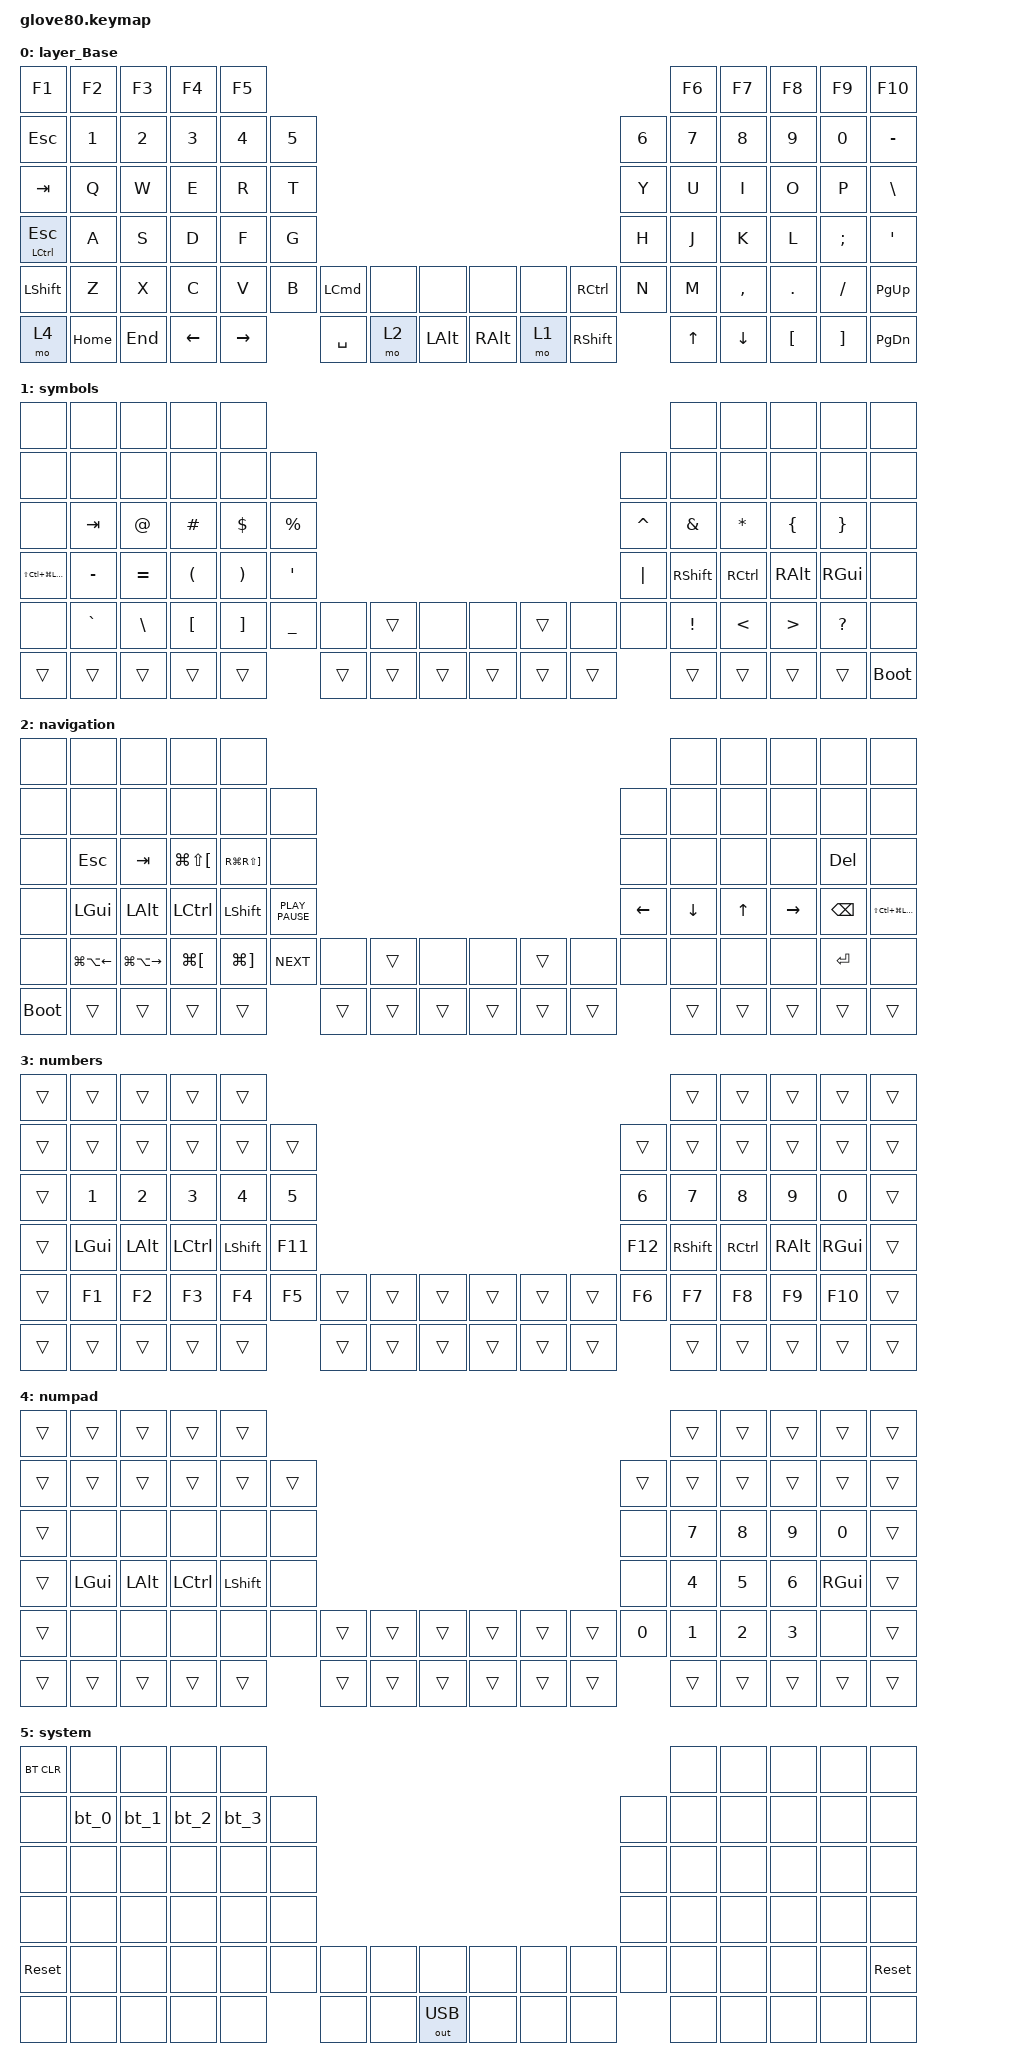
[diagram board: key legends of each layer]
/*
 * Copyright (c) 2020 The ZMK Contributors
 *
 * SPDX-License-Identifier: MIT
 */

#include <behaviors.dtsi>
#include <dt-bindings/zmk/keys.h>
#include <dt-bindings/zmk/bt.h>
#include <dt-bindings/zmk/ext_power.h>
#include <dt-bindings/zmk/outputs.h>

#define DEFAULT 0

/ {
    macros {

        bt_0: bt_profile_macro_0 {
            compatible = "zmk,behavior-macro";
            #binding-cells = <0>;
            bindings
                = <&out OUT_BLE>,
                  <&bt BT_SEL 0>;
        };

        bt_1: bt_profile_macro_1 {
            compatible = "zmk,behavior-macro";
            #binding-cells = <0>;
            bindings
                = <&out OUT_BLE>,
                  <&bt BT_SEL 1>;
        };

        bt_2: bt_profile_macro_2 {
            compatible = "zmk,behavior-macro";
            #binding-cells = <0>;
            bindings
                = <&out OUT_BLE>,
                  <&bt BT_SEL 2>;
        };

        bt_3: bt_profile_macro_3 {
            compatible = "zmk,behavior-macro";
            #binding-cells = <0>;
            bindings
                = <&out OUT_BLE>,
                  <&bt BT_SEL 3>;
        };
    };

    combos {
        compatible = "zmk,combos";

        enter {
            bindings = <&kp ENTER>;
            key-positions = <60 61>;
        };

        jk_escape {
            bindings = <&kp ESC>;
            key-positions = <41 42>;
        };
    };

    keymap {
        compatible = "zmk,keymap";

        layer_Base {
            bindings = <
&kp F1            &kp F2    &kp F3   &kp F4    &kp F5                                                                               &kp F6  &kp F7     &kp F8    &kp F9    &kp F10
&kp ESCAPE        &kp N1    &kp N2   &kp N3    &kp N4     &kp N5                                                            &kp N6  &kp N7  &kp N8     &kp N9    &kp N0    &kp MINUS
&kp TAB           &kp Q     &kp W    &kp E     &kp R      &kp T                                                             &kp Y   &kp U   &kp I      &kp O     &kp P     &kp BSLH
&mt LCTRL ESCAPE  &kp A     &kp S    &kp D     &kp F      &kp G                                                             &kp H   &kp J   &kp K      &kp L     &kp SEMI  &kp SQT 
&kp LSHIFT        &kp Z     &kp X    &kp C     &kp V      &kp B   &kp LCMD   &none  &none       &none     &none  &kp RCTRL  &kp N   &kp M   &kp COMMA  &kp DOT   &kp FSLH  &kp PG_UP
&mo 4             &kp HOME  &kp END  &kp LEFT  &kp RIGHT          &kp SPACE  &mo 2  &kp LALT    &kp RALT  &mo 1  &kp RSHFT          &kp UP  &kp DOWN   &kp LBKT  &kp RBKT  &kp PG_DN
            >;
        };

        symbols {
            bindings = <
&none                 &none      &none      &none                 &none                                                                                               &none      &none          &none             &none      &none
&none                 &none      &none      &none                 &none                  &none                                                             &none      &none      &none          &none             &none      &none
&none                 &kp TAB    &kp AT     &kp HASH              &kp DOLLAR             &kp PERCENT                                                       &kp CARET  &kp AMPS   &kp ASTRK      &kp LBRC          &kp RBRC   &none
&kp LS(LC(LG(LALT)))  &kp MINUS  &kp EQUAL  &kp LEFT_PARENTHESIS  &kp RIGHT_PARENTHESIS  &kp SQT                                                           &kp PIPE   &kp RSHFT  &kp RCTRL      &kp RALT          &kp RGUI   &none
&none                 &kp GRAVE  &kp BSLH   &kp LBKT              &kp RBKT               &kp UNDERSCORE  &none   &trans  &none     &none   &trans  &none   &none      &kp EXCL   &kp LESS_THAN  &kp GREATER_THAN  &kp QMARK  &none
&trans                &trans     &trans     &trans                &trans                                 &trans  &trans  &trans    &trans  &trans  &trans             &trans     &trans         &trans            &trans     &bootloader
            >;
        };

        navigation {
            bindings = <
&none        &none     &none     &none                     &none                                                                                           &none     &none   &none      &none       &none
&none        &none     &none     &none                     &none             &none                                                               &none     &none     &none   &none      &none       &none
&none        &kp ESC   &kp TAB   &kp LG(LS(LEFT_BRACKET))  &kp RG(RS(RBKT))  &none                                                               &none     &none     &none   &none      &kp DELETE  &none
&none        &kp LGUI  &kp LALT  &kp LCTRL                 &kp LSHFT         &kp K_PLAY_PAUSE                                                    &kp LEFT  &kp DOWN  &kp UP  &kp RIGHT  &kp BSPC    &kp LS(LC(LG(LALT)))
&none        &kp LG(LA(LEFT))     &kp LG(LA(RIGHT))     &kp LG(LEFT_BRACKET)      &kp LG(RBKT)      &kp K_NEXT        &none   &trans  &none     &none   &trans  &none   &none     &none     &none   &none      &kp ENTER   &none
&bootloader  &trans    &trans    &trans                    &trans                              &trans  &trans  &trans    &trans  &trans  &trans            &trans    &trans  &trans     &trans      &trans
            >;
        };

        numbers {
            bindings = <
&trans  &trans    &trans    &trans     &trans                                                                         &trans     &trans     &trans    &trans    &trans
&trans  &trans    &trans    &trans     &trans     &trans                                                     &trans   &trans     &trans     &trans    &trans    &trans
&trans  &kp N1    &kp N2    &kp N3     &kp N4     &kp N5                                                     &kp N6   &kp N7     &kp N8     &kp N9    &kp N0    &trans
&trans  &kp LGUI  &kp LALT  &kp LCTRL  &kp LSHFT  &kp F11                                                    &kp F12  &kp RSHFT  &kp RCTRL  &kp RALT  &kp RGUI  &trans
&trans  &kp F1    &kp F2    &kp F3     &kp F4     &kp F5   &trans  &trans  &trans    &trans  &trans  &trans  &kp F6   &kp F7     &kp F8     &kp F9    &kp F10   &trans
&trans  &trans    &trans    &trans     &trans              &trans  &trans  &trans    &trans  &trans  &trans           &trans     &trans     &trans    &trans    &trans
            >;
        };

        numpad {
            bindings = <
&trans  &trans    &trans    &trans     &trans                                                                       &trans  &trans  &trans  &trans    &trans
&trans  &trans    &trans    &trans     &trans     &trans                                                    &trans  &trans  &trans  &trans  &trans    &trans
&trans  &none     &none     &none      &none      &none                                                     &none   &kp N7  &kp N8  &kp N9  &kp N0    &trans
&trans  &kp LGUI  &kp LALT  &kp LCTRL  &kp LSHFT  &none                                                     &none   &kp N4  &kp N5  &kp N6  &kp RGUI  &trans
&trans  &none     &none     &none      &none      &none   &trans  &trans  &trans    &trans  &trans  &trans  &kp N0  &kp N1  &kp N2  &kp N3  &none     &trans
&trans  &trans    &trans    &trans     &trans             &trans  &trans  &trans    &trans  &trans  &trans          &trans  &trans  &trans  &trans    &trans
            >;
        };

        system {
            bindings = <
&bt BT_CLR       &none  &none  &none  &none                                                                   &none  &none  &none  &none  &none
&none  &bt_0  &bt_1  &bt_2  &bt_3  &none                                                     &none  &none  &none  &none  &none  &none
&none            &none  &none  &none  &none  &none                                                     &none  &none  &none  &none  &none  &none
&none            &none  &none  &none  &none  &none                                                     &none  &none  &none  &none  &none  &none
&sys_reset       &none  &none  &none  &none  &none  &none  &none  &none           &none  &none  &none  &none  &none  &none  &none  &none  &sys_reset
&none            &none  &none  &none  &none         &none  &none  &out OUT_USB    &none  &none  &none         &none  &none  &none  &none  &none
            >;
        };
    };

    conditional_layers {
        compatible = "zmk,conditional-layers";

        double {
            if-layers = <1 2>;
            then-layer = <3>;
        };
    };
};

// vi: ft=c
